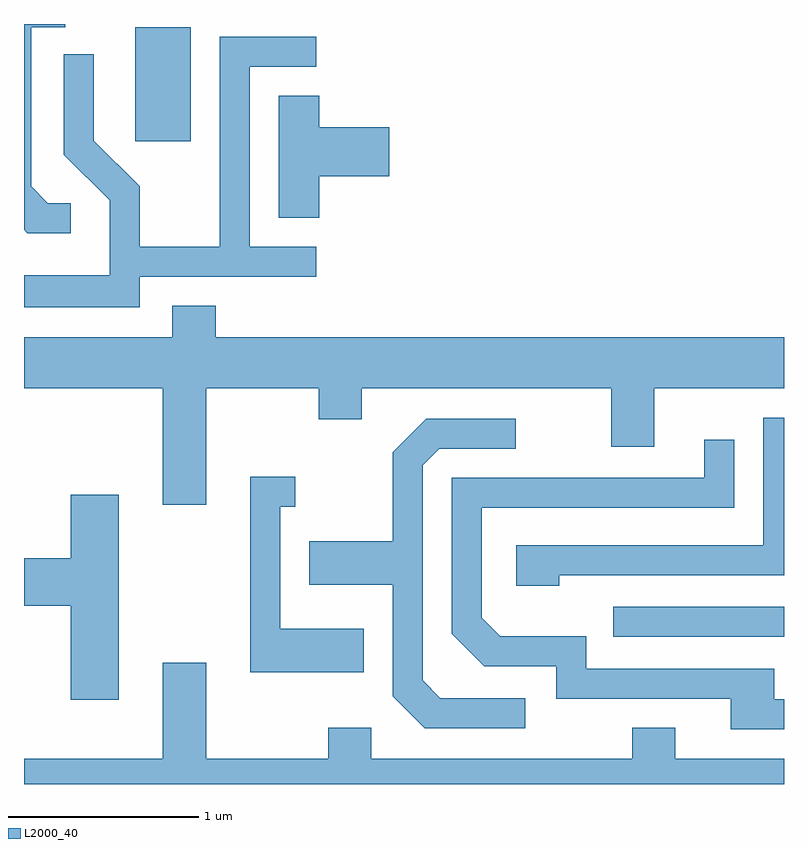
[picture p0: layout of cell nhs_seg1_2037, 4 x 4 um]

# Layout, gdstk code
import gdstk
lib = gdstk.Library(unit=1e-6, precision=1e-09)
def R(c, l, rs):  # rectangles x0, y0, x1, y1
    for r in rs: c.add(gdstk.rectangle(r[:2], r[2:], *l))
def P(c, l, *ps):  # polygons
    for p in ps: c.add(gdstk.Polygon(p, *l))
L2000_40 = (2000, 40)

nhs_seg1_2037 = lib.new_cell('nhs_seg1_2037')
R(nhs_seg1_2037, L2000_40, [(250.713,900.486,251.611,900.644), (248.196,903.096,248.489,903.694)])
P(nhs_seg1_2037, L2000_40, [(247.858,902.769),(247.737,902.769),(247.649,902.857),(247.649,903.696),(247.828,903.696),(247.828,903.712),(247.611,903.712),(247.611,902.629),(247.629,902.611),(247.858,902.611)],
  [(248.219,902.381),(249.148,902.381),(249.148,902.539),(248.799,902.539),(248.799,903.486),(249.148,903.486),(249.148,903.644),(248.641,903.644),(248.641,902.539),(248.219,902.539),(248.219,902.857),(247.979,903.097),(247.979,903.553),(247.821,903.553),(247.821,903.024),(248.061,902.784),(248.061,902.389),(247.611,902.389),(247.611,902.221),(248.219,902.221)],
  [(249.164,902.911),(249.534,902.911),(249.534,903.169),(249.164,903.169),(249.164,903.334),(248.951,903.334),(248.951,902.691),(249.164,902.691)],
  [(248.569,901.796),(249.161,901.796),(249.161,901.631),(249.389,901.631),(249.389,901.796),(250.701,901.796),(250.701,901.486),(250.929,901.486),(250.929,901.796),(251.611,901.796),(251.611,902.064),(248.619,902.064),(248.619,902.229),(248.391,902.229),(248.391,902.064),(247.611,902.064),(247.611,901.796),(248.341,901.796),(248.341,901.181),(248.569,901.181)],
  [(250.429,900.811),(251.611,900.811),(251.611,901.639),(251.501,901.639),(251.501,900.969),(250.201,900.969),(250.201,900.756),(250.429,900.756)],
  [(250.248,900.164),(249.802,900.164),(249.709,900.257),(249.709,901.389),(249.797,901.476),(250.198,901.476),(250.198,901.634),(249.729,901.634),(249.551,901.457),(249.551,900.989),(249.111,900.989),(249.111,900.761),(249.551,900.761),(249.551,900.174),(249.719,900.006),(250.248,900.006)],
  [(251.611,900.159),(251.559,900.159),(251.559,900.319),(250.569,900.319),(250.569,900.489),(250.117,900.489),(250.019,900.587),(250.019,901.166),(251.349,901.166),(251.349,901.523),(251.191,901.523),(251.191,901.324),(249.861,901.324),(249.861,900.504),(250.034,900.331),(250.411,900.331),(250.411,900.161),(251.331,900.161),(251.331,900.001),(251.611,900.001)],
  [(249.399,900.529),(248.959,900.529),(248.959,901.171),(249.038,901.171),(249.038,901.329),(248.801,901.329),(248.801,900.301),(249.399,900.301)],
  [(248.109,901.234),(247.856,901.234),(247.856,900.899),(247.611,900.899),(247.611,900.651),(247.856,900.651),(247.856,900.156),(248.109,900.156)],
  [(251.611,899.844),(251.039,899.844),(251.039,900.009),(250.811,900.009),(250.811,899.844),(249.439,899.844),(249.439,900.009),(249.211,900.009),(249.211,899.844),(248.569,899.844),(248.569,900.349),(248.341,900.349),(248.341,899.844),(247.611,899.844),(247.611,899.712),(251.611,899.712)])

lib.write_gds('nhs_seg1_2037.gds')
